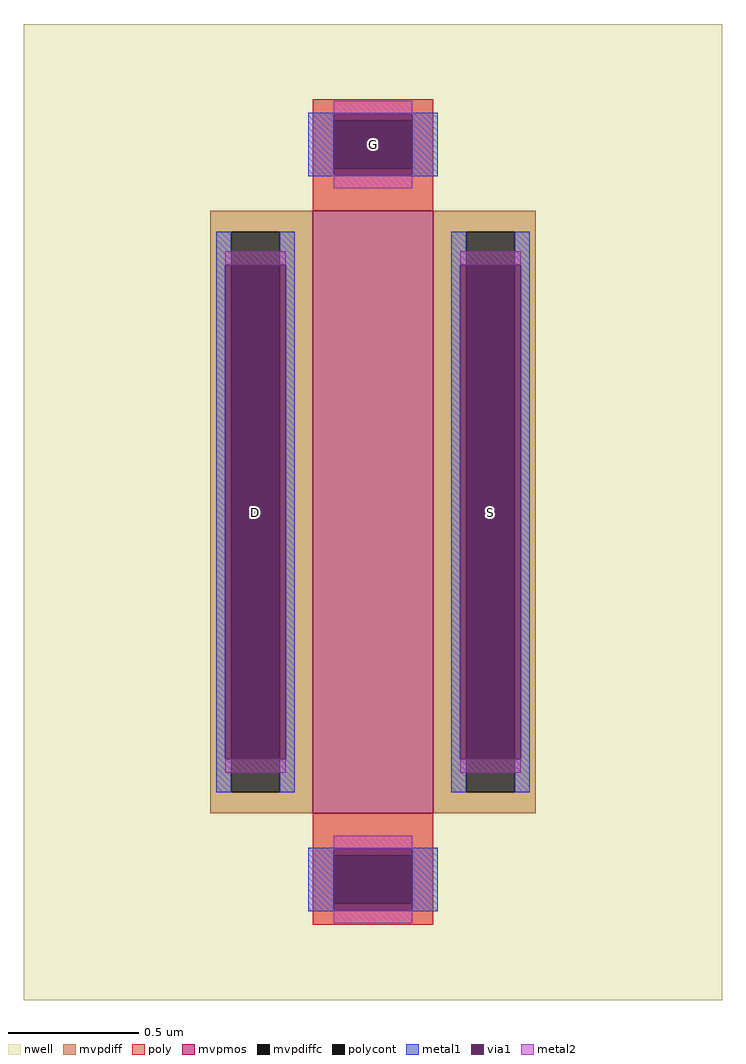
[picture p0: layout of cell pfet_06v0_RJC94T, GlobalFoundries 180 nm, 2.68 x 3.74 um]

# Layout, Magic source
magic
tech gf180mcuD
magscale 3 26
<< nwell >>
rect -232 -324 232 324
<< mvpmos >>
rect -40 -200 40 200
<< mvpdiff >>
rect -108 186 -40 200
rect -108 -186 -94 186
rect -62 -186 -40 186
rect -108 -200 -40 -186
rect 40 186 108 200
rect 40 -186 62 186
rect 94 -186 108 186
rect 40 -200 108 -186
<< mvpdiffc >>
rect -94 -186 -62 186
rect 62 -186 94 186
<< poly >>
rect -40 260 40 274
rect -40 228 -26 260
rect 26 228 40 260
rect -40 200 40 228
rect -40 -228 40 -200
rect -40 -260 -26 -228
rect 26 -260 40 -228
rect -40 -274 40 -260
<< polycont >>
rect -26 228 26 260
rect -26 -260 26 -228
<< metal1 >>
rect -43 264 43 265
rect -43 224 -26 264
rect 26 224 43 264
rect -43 223 43 224
rect -104 164 -94 186
rect -62 164 -52 186
rect -104 -164 -98 164
rect -58 -164 -52 164
rect -104 -186 -94 -164
rect -62 -186 -52 -164
rect 52 164 62 186
rect 94 164 104 186
rect 52 -164 58 164
rect 98 -164 104 164
rect 52 -186 62 -164
rect 94 -186 104 -164
rect -43 -224 43 -223
rect -43 -264 -26 -224
rect 26 -264 43 -224
rect -43 -265 43 -264
<< via1 >>
rect -26 260 26 264
rect -26 228 26 260
rect -26 224 26 228
rect -98 -164 -94 164
rect -94 -164 -62 164
rect -62 -164 -58 164
rect 58 -164 62 164
rect 62 -164 94 164
rect 94 -164 98 164
rect -26 -228 26 -224
rect -26 -260 26 -228
rect -26 -264 26 -260
<< metal2 >>
rect -26 264 26 273
rect -26 215 26 224
rect -98 164 -58 173
rect -98 -173 -58 -164
rect 58 164 98 173
rect 58 -173 98 -164
rect -26 -224 26 -215
rect -26 -273 26 -264
<< labels >>
rlabel mvpdiffc -78 0 -78 0 0 D
port 1 nsew
rlabel mvpdiffc 78 0 78 0 0 S
port 2 nsew
rlabel polycont 0 244 0 244 0 G
port 3 nsew
<< properties >>
string gencell pfet_05v0
string library gf180mcu
string parameters w 2.0 l 0.4 m 1 ng 1 diffcov 100 polycov 100 guard 0 glc 1 grc 1 gtc 1 gbc 1 tbcov 100 rlcov 100 topc 1 botc 1 poverlap 0 doverlap 1 lmin 0.4 wmin 0.15 class mosfet compatible {pfet_05v0 pfet_06v0} full_metal 1 conn_gates 0 gate_ring 0 ccols 1 viasrc 100 viadrn 100 viagate 100 viagb 0 viagr 0 viagl 0 viagt 0 doports 1
<< end >>
